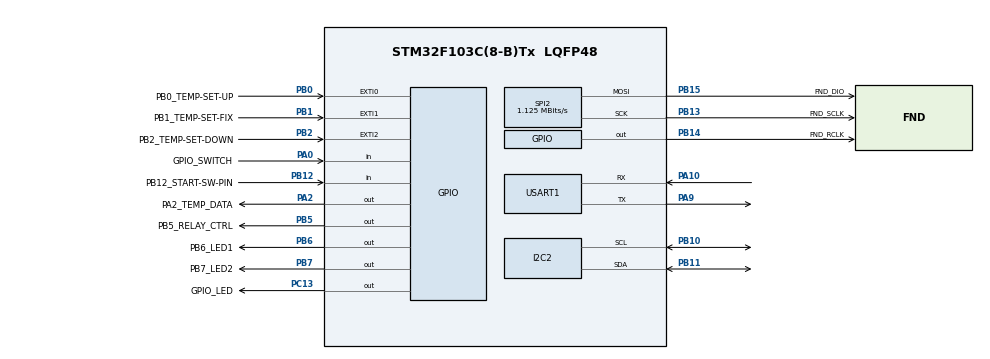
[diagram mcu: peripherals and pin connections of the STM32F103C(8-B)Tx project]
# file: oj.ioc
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I2C2.GeneralCallMode=I2C_GENERALCALL_DISABLE
I2C2.I2C_Mode=I2C_Fast
I2C2.NoStretchMode=I2C_NOSTRETCH_DISABLE
I2C2.OwnAddress=0
Mcu.Family=STM32F1
Mcu.Name=STM32F103C(8-B)Tx
Mcu.Package=LQFP48
NVIC.EXTI0_IRQn=true\:9\:0\:true\:false\:true\:true\:true\:true
NVIC.EXTI1_IRQn=true\:9\:0\:true\:false\:true\:true\:true\:true
NVIC.EXTI2_IRQn=true\:9\:0\:true\:false\:true\:true\:true\:true
NVIC.PriorityGroup=NVIC_PRIORITYGROUP_4
NVIC.TIM2_IRQn=true\:0\:0\:false\:false\:true\:true\:true\:true
NVIC.TIM3_IRQn=true\:10\:0\:true\:false\:true\:true\:true\:true
PA0-WKUP.GPIO_Label=GPIO_SWITCH
PA0-WKUP.GPIO_PuPd=GPIO_PULLUP
PA0-WKUP.Signal=GPIO_Input
PA10.Mode=Asynchronous
PA10.Signal=USART1_RX
PA13.Mode=Serial_Wire
PA13.Signal=SYS_JTMS-SWDIO
PA14.Mode=Serial_Wire
PA14.Signal=SYS_JTCK-SWCLK
PA2.GPIO_Label=PA2_TEMP_DATA
PA2.GPIO_PuPd=GPIO_PULLUP
PA2.GPIO_Speed=GPIO_SPEED_FREQ_HIGH
PA2.PinState=GPIO_PIN_SET
PA2.Signal=GPIO_Output
PA9.Mode=Asynchronous
PA9.Signal=USART1_TX
PB0.GPIO_Label=PB0_TEMP-SET-UP
PB0.GPIO_ModeDefaultEXTI=GPIO_MODE_IT_FALLING
PB0.GPIO_PuPd=GPIO_PULLUP
PB0.Signal=GPXTI0
PB1.GPIO_Label=PB1_TEMP-SET-FIX
PB1.GPIO_ModeDefaultEXTI=GPIO_MODE_IT_FALLING
PB1.GPIO_PuPd=GPIO_PULLUP
PB1.Signal=GPXTI1
PB10.Mode=I2C
PB10.Signal=I2C2_SCL
PB11.Mode=I2C
PB11.Signal=I2C2_SDA
PB12.GPIO_Label=PB12_START-SW-PIN
PB12.GPIO_PuPd=GPIO_PULLUP
PB12.Signal=GPIO_Input
PB13.GPIO_Label=FND_SCLK
PB13.Mode=TX_Only_Simplex_Unidirect_Master
PB13.Signal=SPI2_SCK
PB14.GPIO_Label=FND_RCLK
PB14.GPIO_PuPd=GPIO_PULLUP
PB14.GPIO_Speed=GPIO_SPEED_FREQ_HIGH
PB14.PinState=GPIO_PIN_SET
PB14.Signal=GPIO_Output
PB15.GPIO_Label=FND_DIO
PB15.Mode=TX_Only_Simplex_Unidirect_Master
PB15.Signal=SPI2_MOSI
PB2.GPIO_Label=PB2_TEMP-SET-DOWN
PB2.GPIO_ModeDefaultEXTI=GPIO_MODE_IT_FALLING
PB2.GPIO_PuPd=GPIO_PULLUP
PB2.Signal=GPXTI2
PB5.GPIO_Label=PB5_RELAY_CTRL
PB5.GPIO_PuPd=GPIO_PULLDOWN
PB5.GPIO_Speed=GPIO_SPEED_FREQ_HIGH
PB5.PinState=GPIO_PIN_RESET
PB5.Signal=GPIO_Output
PB6.GPIO_Label=PB6_LED1
PB6.GPIO_PuPd=GPIO_PULLUP
PB6.GPIO_Speed=GPIO_SPEED_FREQ_HIGH
PB6.PinState=GPIO_PIN_SET
PB6.Signal=GPIO_Output
PB7.GPIO_Label=PB7_LED2
PB7.GPIO_PuPd=GPIO_PULLUP
PB7.GPIO_Speed=GPIO_SPEED_FREQ_HIGH
PB7.PinState=GPIO_PIN_SET
PB7.Signal=GPIO_Output
PC13-TAMPER-RTC.GPIO_Label=GPIO_LED
PC13-TAMPER-RTC.GPIO_ModeDefaultOutputPP=GPIO_MODE_OUTPUT_PP
PC13-TAMPER-RTC.GPIO_PuPd=GPIO_PULLDOWN
PC13-TAMPER-RTC.GPIO_Speed=GPIO_SPEED_FREQ_HIGH
PC13-TAMPER-RTC.PinState=GPIO_PIN_SET
PC13-TAMPER-RTC.Signal=GPIO_Output
PC14-OSC32_IN.Mode=LSE-External-Oscillator
PC14-OSC32_IN.Signal=RCC_OSC32_IN
PC15-OSC32_OUT.Mode=LSE-External-Oscillator
PC15-OSC32_OUT.Signal=RCC_OSC32_OUT
PD0-OSC_IN.Mode=HSE-External-Oscillator
PD0-OSC_IN.Signal=RCC_OSC_IN
PD1-OSC_OUT.Mode=HSE-External-Oscillator
PD1-OSC_OUT.Signal=RCC_OSC_OUT
ProjectManager.HeapSize=0x200
ProjectManager.StackSize=0x400
ProjectManager.TargetToolchain=STM32CubeIDE
RCC.AHBFreq_Value=72000000
RCC.APB1CLKDivider=RCC_HCLK_DIV2
RCC.APB1Freq_Value=36000000
RCC.APB1TimFreq_Value=72000000
RCC.APB2Freq_Value=72000000
RCC.APB2TimFreq_Value=72000000
RCC.HCLKFreq_Value=72000000
RCC.PLLMUL=RCC_PLL_MUL9
RCC.PLLSourceVirtual=RCC_PLLSOURCE_HSE
RCC.SYSCLKFreq_VALUE=72000000
RCC.SYSCLKSource=RCC_SYSCLKSOURCE_PLLCLK
RCC.USBFreq_Value=72000000
SPI2.BaudRatePrescaler=SPI_BAUDRATEPRESCALER_32
SPI2.CLKPhase=SPI_PHASE_2EDGE
SPI2.CLKPolarity=SPI_POLARITY_HIGH
SPI2.CalculateBaudRate=1.125 MBits/s
SPI2.Direction=SPI_DIRECTION_2LINES
SPI2.Mode=SPI_MODE_MASTER
SPI2.VirtualType=VM_MASTER
TIM2.Period=65535
TIM2.Prescaler=(72-1)
TIM3.Period=49
TIM3.Prescaler=71
USART1.VirtualMode=VM_ASYNC
VP_TIM2_VS_ClockSourceINT.Mode=Internal
VP_TIM3_VS_ClockSourceINT.Mode=Internal
board=custom

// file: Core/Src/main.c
/* USER CODE BEGIN Header */
/**
 ******************************************************************************
 * @file           : main.c
 * @brief          : Main program body
 ******************************************************************************
 * @attention
 *
 * Copyright (c) 2024 STMicroelectronics.
 * All rights reserved.
 *
 * This software is licensed under terms that can be found in the LICENSE file
 * in the root directory of this software component.
 * If no LICENSE file comes with this software, it is provided AS-IS.
 *
 ******************************************************************************
 */
/* USER CODE END Header */
#include "main.h"

/* USER CODE BEGIN Includes */
#include <stdio.h>
#include "fnd_controller.h"
#include "ds18b20.h"
#include "heater_controller.h"
#include "fonts.h"
#include "ssd1306.h"
#include "test.h"
#include "bitmap.h"
#include "horse_anim.h"
#include "utils.h"
#include "oled_controller.h"
#include "button_controller.h"
/* USER CODE END Includes */

/* USER CODE BEGIN PTD */
#include <stdio.h>
/* USER CODE END PTD */

I2C_HandleTypeDef hi2c2;

SPI_HandleTypeDef hspi2;

TIM_HandleTypeDef htim2;
TIM_HandleTypeDef htim3;

UART_HandleTypeDef huart1;

void SystemClock_Config(void);
static void MX_GPIO_Init(void);
static void MX_USART1_UART_Init(void);
static void MX_TIM2_Init(void);
static void MX_TIM3_Init(void);
static void MX_I2C2_Init(void);
static void MX_SPI2_Init(void);

int main(void) {

	/* USER CODE BEGIN 1 */
	float temper = 0.0;
	/* USER CODE END 1 */

	/* MCU Configuration--------------------------------------------------------*/

	/* Reset of all peripherals, Initializes the Flash interface and the Systick. */
	HAL_Init();

	/* Configure the system clock */
	SystemClock_Config();

	/* Initialize all configured peripherals */
	MX_GPIO_Init();
	MX_USART1_UART_Init();
	MX_TIM2_Init();
	MX_TIM3_Init();
	MX_I2C2_Init();
	MX_SPI2_Init();
	/* USER CODE BEGIN 2 */
	SSD1306_Init();
	opening();

	init_fnd(&hspi2);
//  HAL_TIM_Base_Start_IT(&htim2);
	HAL_TIM_Base_Start_IT(&htim3);

//  Ds18b20_Init();
	Ds18b20_Init_Simple();
//  volatile unsigned int * reg = 0x40021018;
//  *reg |= 16;
//  GPIO_InitTypeDef GPIO_InitStruct = {0};
//  GPIO_InitStruct.Pin = GPIO_LED_Pin; // PC13   1 << 13
//  GPIO_InitStruct.Mode = GPIO_MODE_OUTPUT_PP;
//  GPIO_InitStruct.Pull = GPIO_PULLDOWN;
//  GPIO_InitStruct.Speed = GPIO_SPEED_FREQ_HIGH;
//  HAL_GPIO_Init(GPIO_LED_GPIO_Port, &GPIO_InitStruct);

	/* USER CODE END 2 */

	/* Infinite loop */
	/* USER CODE BEGIN WHILE */
//  volatile unsigned int * reg2 = 0x40011010;
//  char senddata[20] = "hello world\r\n";
//  float ff = 0.7;
	static int m_count = 0;
	static int m_first = 0;
	while (1) {

//	  if(HAL_GPIO_ReadPin(PB0_TEMP_SET_UP_GPIO_Port, PB0_TEMP_SET_UP_Pin)){
//		  printf("1\r\n");
//	  }else{
//		  printf("0\r\n");
//	  }
		if ((m_count > 100) || !m_first) {
			if (!isConverting()) {
				StartConverting();
			}

			checkConverting();

			if (!isConverting()) {
				temper = getTemper();
				if (getSwState() == ON_t) {
					heaterControll(temper);
				} else if (getHeaterState() == ON_t) {
					heaterOnOff(OFF_t);
				}
			}
			m_count = 0;
			m_first = 1;
		}
	}
	m_count++;
	HAL_Delay(10);

//	  for(int i=0; i<99; i++){
//		  digit2(i, 0b0001, 50);
//	  }
//	  for(int i=0; i<100; i++){
//		  digit4showZero_replay(i, 50);
//	  }
//	  for(int i=0; i<9999; i++){
//		  digit4_replay(i, 50);
//	  }

//	  Ds18b20_ManualConvert();
//
//	  if(getCurrentTemper() > 50 && getHeaterState() == t_ON){
//		  heaterControll(t_OFF);
//	  }else if(getCurrentTemper() < 45 && getHeaterState() == t_OFF){
//		  heaterControll(t_ON);
//	  }

//	  digit4_temper((int)(ds18b20[0].Temperature * 10), 3000);

//	  for(int i=0; i<9999; i++){
//		  digit4_temper(i, 450);
//	  }

//	  if(!HAL_GPIO_ReadPin(PB0_TEMP_SET_UP_GPIO_Port, PB0_TEMP_SET_UP_Pin)){
//		  HAL_GPIO_WritePin(PB6_LED1_GPIO_Port, PB6_LED1_Pin, 0);
//	  }else{
//		  HAL_GPIO_WritePin(PB6_LED1_GPIO_Port, PB6_LED1_Pin, 1);
//	  }
//	  HAL_Delay(500);

//	  HAL_GPIO_WritePin(PB6_LED1_GPIO_Port, PB6_LED1_Pin, 0);
//	  HAL_Delay(1000);
//	  HAL_GPIO_WritePin(PB6_LED1_GPIO_Port, PB6_LED1_Pin, 1);
//	  HAL_Delay(1000);

//	  printf("aaa\r\n");
//	  printf("%f\r\n",ff);
//	  HAL_UART_Transmit(&huart1, senddata, strlen(senddata), 1000);
//	  HAL_Delay(1000);

//	  *reg2 = 0x2000;
//	  HAL_Delay(100);
//	  *reg2 = (0x2000 << 16);
//	  HAL_Delay(100);

//	  HAL_GPIO_WritePin(GPIO_LED_GPIO_Port, GPIO_LED_Pin, 1);
//	  HAL_Delay(100);
//	  HAL_GPIO_WritePin(GPIO_LED_GPIO_Port, GPIO_LED_Pin, 0);
//	  HAL_Delay(100);

//	  if(!HAL_GPIO_ReadPin(GPIO_SWITCH_GPIO_Port, GPIO_SWITCH_Pin)){
//		  HAL_GPIO_WritePin(GPIO_LED_GPIO_Port, GPIO_LED_Pin, 0);
//	  }else{
//		  HAL_GPIO_WritePin(GPIO_LED_GPIO_Port, GPIO_LED_Pin, 1);
//	  }
//	  HAL_Delay(100);
	/* USER CODE END WHILE */

}

void SystemClock_Config(void) {
RCC_OscInitTypeDef RCC_OscInitStruct = { 0 };
RCC_ClkInitTypeDef RCC_ClkInitStruct = { 0 };

/** Initializes the RCC Oscillators according to the specified parameters
 * in the RCC_OscInitTypeDef structure.
 */
RCC_OscInitStruct.OscillatorType = RCC_OSCILLATORTYPE_HSE;
RCC_OscInitStruct.HSEState = RCC_HSE_ON;
RCC_OscInitStruct.HSEPredivValue = RCC_HSE_PREDIV_DIV1;
RCC_OscInitStruct.HSIState = RCC_HSI_ON;
RCC_OscInitStruct.PLL.PLLState = RCC_PLL_ON;
RCC_OscInitStruct.PLL.PLLSource = RCC_PLLSOURCE_HSE;
RCC_OscInitStruct.PLL.PLLMUL = RCC_PLL_MUL9;
if (HAL_RCC_OscConfig(&RCC_OscInitStruct) != HAL_OK) {
	Error_Handler();
}

/** Initializes the CPU, AHB and APB buses clocks
 */
RCC_ClkInitStruct.ClockType = RCC_CLOCKTYPE_HCLK | RCC_CLOCKTYPE_SYSCLK
		| RCC_CLOCKTYPE_PCLK1 | RCC_CLOCKTYPE_PCLK2;
RCC_ClkInitStruct.SYSCLKSource = RCC_SYSCLKSOURCE_PLLCLK;
RCC_ClkInitStruct.AHBCLKDivider = RCC_SYSCLK_DIV1;
RCC_ClkInitStruct.APB1CLKDivider = RCC_HCLK_DIV2;
RCC_ClkInitStruct.APB2CLKDivider = RCC_HCLK_DIV1;

if (HAL_RCC_ClockConfig(&RCC_ClkInitStruct, FLASH_LATENCY_2) != HAL_OK) {
	Error_Handler();
}
}

static void MX_I2C2_Init(void) {

hi2c2.Instance = I2C2;
hi2c2.Init.ClockSpeed = 400000;
hi2c2.Init.DutyCycle = I2C_DUTYCYCLE_2;
hi2c2.Init.OwnAddress1 = 0;
hi2c2.Init.AddressingMode = I2C_ADDRESSINGMODE_7BIT;
hi2c2.Init.DualAddressMode = I2C_DUALADDRESS_DISABLE;
hi2c2.Init.OwnAddress2 = 0;
hi2c2.Init.GeneralCallMode = I2C_GENERALCALL_DISABLE;
hi2c2.Init.NoStretchMode = I2C_NOSTRETCH_DISABLE;
if (HAL_I2C_Init(&hi2c2) != HAL_OK) {
	Error_Handler();
}

}

static void MX_SPI2_Init(void) {

/* SPI2 parameter configuration*/
hspi2.Instance = SPI2;
hspi2.Init.Mode = SPI_MODE_MASTER;
hspi2.Init.Direction = SPI_DIRECTION_2LINES;
hspi2.Init.DataSize = SPI_DATASIZE_8BIT;
hspi2.Init.CLKPolarity = SPI_POLARITY_HIGH;
hspi2.Init.CLKPhase = SPI_PHASE_2EDGE;
hspi2.Init.NSS = SPI_NSS_SOFT;
hspi2.Init.BaudRatePrescaler = SPI_BAUDRATEPRESCALER_32;
hspi2.Init.FirstBit = SPI_FIRSTBIT_MSB;
hspi2.Init.TIMode = SPI_TIMODE_DISABLE;
hspi2.Init.CRCCalculation = SPI_CRCCALCULATION_DISABLE;
hspi2.Init.CRCPolynomial = 10;
if (HAL_SPI_Init(&hspi2) != HAL_OK) {
	Error_Handler();
}

}

static void MX_TIM2_Init(void) {

TIM_ClockConfigTypeDef sClockSourceConfig = { 0 };
TIM_MasterConfigTypeDef sMasterConfig = { 0 };

htim2.Instance = TIM2;
htim2.Init.Prescaler = (72 - 1);
htim2.Init.CounterMode = TIM_COUNTERMODE_UP;
htim2.Init.Period = 65535;
htim2.Init.ClockDivision = TIM_CLOCKDIVISION_DIV1;
htim2.Init.AutoReloadPreload = TIM_AUTORELOAD_PRELOAD_DISABLE;
if (HAL_TIM_Base_Init(&htim2) != HAL_OK) {
	Error_Handler();
}
sClockSourceConfig.ClockSource = TIM_CLOCKSOURCE_INTERNAL;
if (HAL_TIM_ConfigClockSource(&htim2, &sClockSourceConfig) != HAL_OK) {
	Error_Handler();
}
sMasterConfig.MasterOutputTrigger = TIM_TRGO_RESET;
sMasterConfig.MasterSlaveMode = TIM_MASTERSLAVEMODE_DISABLE;
if (HAL_TIMEx_MasterConfigSynchronization(&htim2, &sMasterConfig) != HAL_OK) {
	Error_Handler();
}

}

static void MX_TIM3_Init(void) {

TIM_ClockConfigTypeDef sClockSourceConfig = { 0 };
TIM_MasterConfigTypeDef sMasterConfig = { 0 };

htim3.Instance = TIM3;
htim3.Init.Prescaler = 71;
htim3.Init.CounterMode = TIM_COUNTERMODE_UP;
htim3.Init.Period = 49;
htim3.Init.ClockDivision = TIM_CLOCKDIVISION_DIV1;
htim3.Init.AutoReloadPreload = TIM_AUTORELOAD_PRELOAD_DISABLE;
if (HAL_TIM_Base_Init(&htim3) != HAL_OK) {
	Error_Handler();
}
sClockSourceConfig.ClockSource = TIM_CLOCKSOURCE_INTERNAL;
if (HAL_TIM_ConfigClockSource(&htim3, &sClockSourceConfig) != HAL_OK) {
	Error_Handler();
}
sMasterConfig.MasterOutputTrigger = TIM_TRGO_RESET;
sMasterConfig.MasterSlaveMode = TIM_MASTERSLAVEMODE_DISABLE;
if (HAL_TIMEx_MasterConfigSynchronization(&htim3, &sMasterConfig) != HAL_OK) {
	Error_Handler();
}

}

static void MX_USART1_UART_Init(void) {

huart1.Instance = USART1;
huart1.Init.BaudRate = 115200;
huart1.Init.WordLength = UART_WORDLENGTH_8B;
huart1.Init.StopBits = UART_STOPBITS_1;
huart1.Init.Parity = UART_PARITY_NONE;
huart1.Init.Mode = UART_MODE_TX_RX;
huart1.Init.HwFlowCtl = UART_HWCONTROL_NONE;
huart1.Init.OverSampling = UART_OVERSAMPLING_16;
if (HAL_UART_Init(&huart1) != HAL_OK) {
	Error_Handler();
}

}

static void MX_GPIO_Init(void) {
GPIO_InitTypeDef GPIO_InitStruct = { 0 };

/* GPIO Ports Clock Enable */
__HAL_RCC_GPIOC_CLK_ENABLE();
__HAL_RCC_GPIOD_CLK_ENABLE();
__HAL_RCC_GPIOA_CLK_ENABLE();
__HAL_RCC_GPIOB_CLK_ENABLE();

/*Configure GPIO pin Output Level */
HAL_GPIO_WritePin(GPIO_LED_GPIO_Port, GPIO_LED_Pin, GPIO_PIN_SET);

/*Configure GPIO pin Output Level */
HAL_GPIO_WritePin(PA2_TEMP_DATA_GPIO_Port, PA2_TEMP_DATA_Pin, GPIO_PIN_SET);

/*Configure GPIO pin Output Level */
HAL_GPIO_WritePin(GPIOB, FND_RCLK_Pin | PB6_LED1_Pin | PB7_LED2_Pin,
		GPIO_PIN_SET);

/*Configure GPIO pin Output Level */
HAL_GPIO_WritePin(PB5_RELAY_CTRL_GPIO_Port, PB5_RELAY_CTRL_Pin, GPIO_PIN_RESET);

/*Configure GPIO pin : GPIO_LED_Pin */
GPIO_InitStruct.Pin = GPIO_LED_Pin;
GPIO_InitStruct.Mode = GPIO_MODE_OUTPUT_PP;
GPIO_InitStruct.Pull = GPIO_PULLDOWN;
GPIO_InitStruct.Speed = GPIO_SPEED_FREQ_HIGH;
HAL_GPIO_Init(GPIO_LED_GPIO_Port, &GPIO_InitStruct);

/*Configure GPIO pin : GPIO_SWITCH_Pin */
GPIO_InitStruct.Pin = GPIO_SWITCH_Pin;
GPIO_InitStruct.Mode = GPIO_MODE_INPUT;
GPIO_InitStruct.Pull = GPIO_PULLUP;
HAL_GPIO_Init(GPIO_SWITCH_GPIO_Port, &GPIO_InitStruct);

/*Configure GPIO pin : PA2_TEMP_DATA_Pin */
GPIO_InitStruct.Pin = PA2_TEMP_DATA_Pin;
GPIO_InitStruct.Mode = GPIO_MODE_OUTPUT_PP;
GPIO_InitStruct.Pull = GPIO_PULLUP;
GPIO_InitStruct.Speed = GPIO_SPEED_FREQ_HIGH;
HAL_GPIO_Init(PA2_TEMP_DATA_GPIO_Port, &GPIO_InitStruct);

/*Configure GPIO pins : PB0_TEMP_SET_UP_Pin PB1_TEMP_SET_FIX_Pin PB2_TEMP_SET_DOWN_Pin */
GPIO_InitStruct.Pin = PB0_TEMP_SET_UP_Pin | PB1_TEMP_SET_FIX_Pin
		| PB2_TEMP_SET_DOWN_Pin;
GPIO_InitStruct.Mode = GPIO_MODE_IT_FALLING;
GPIO_InitStruct.Pull = GPIO_PULLUP;
HAL_GPIO_Init(GPIOB, &GPIO_InitStruct);

/*Configure GPIO pin : PB12_START_SW_PIN_Pin */
GPIO_InitStruct.Pin = PB12_START_SW_PIN_Pin;
GPIO_InitStruct.Mode = GPIO_MODE_INPUT;
GPIO_InitStruct.Pull = GPIO_PULLUP;
HAL_GPIO_Init(PB12_START_SW_PIN_GPIO_Port, &GPIO_InitStruct);

/*Configure GPIO pins : FND_RCLK_Pin PB6_LED1_Pin PB7_LED2_Pin */
GPIO_InitStruct.Pin = FND_RCLK_Pin | PB6_LED1_Pin | PB7_LED2_Pin;
GPIO_InitStruct.Mode = GPIO_MODE_OUTPUT_PP;
GPIO_InitStruct.Pull = GPIO_PULLUP;
GPIO_InitStruct.Speed = GPIO_SPEED_FREQ_HIGH;
HAL_GPIO_Init(GPIOB, &GPIO_InitStruct);

/*Configure GPIO pin : PB5_RELAY_CTRL_Pin */
GPIO_InitStruct.Pin = PB5_RELAY_CTRL_Pin;
GPIO_InitStruct.Mode = GPIO_MODE_OUTPUT_PP;
GPIO_InitStruct.Pull = GPIO_PULLDOWN;
GPIO_InitStruct.Speed = GPIO_SPEED_FREQ_HIGH;
HAL_GPIO_Init(PB5_RELAY_CTRL_GPIO_Port, &GPIO_InitStruct);

/* EXTI interrupt init*/
HAL_NVIC_SetPriority(EXTI0_IRQn, 9, 0);
HAL_NVIC_EnableIRQ(EXTI0_IRQn);

HAL_NVIC_SetPriority(EXTI1_IRQn, 9, 0);
HAL_NVIC_EnableIRQ(EXTI1_IRQn);

HAL_NVIC_SetPriority(EXTI2_IRQn, 9, 0);
HAL_NVIC_EnableIRQ(EXTI2_IRQn);

}

void Error_Handler(void) {
__disable_irq();
while (1) {
}
}
